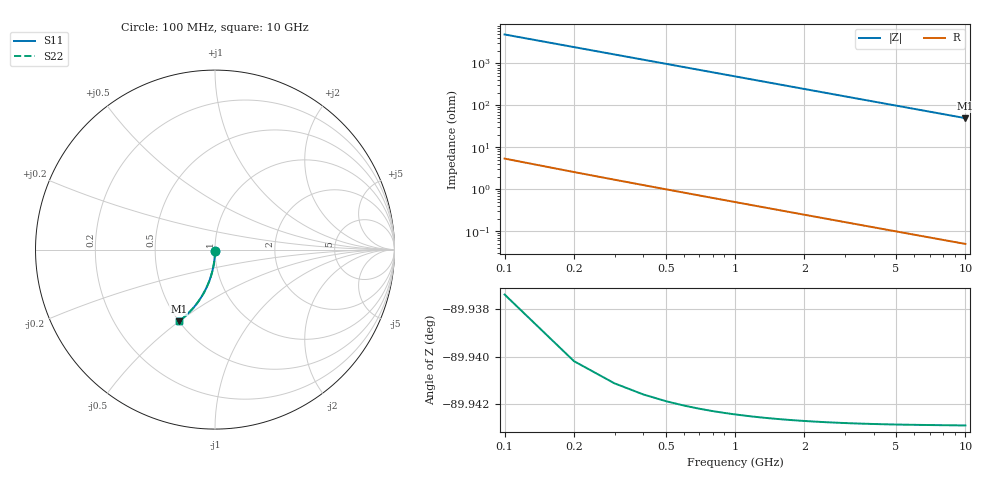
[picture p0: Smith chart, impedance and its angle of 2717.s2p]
# Hz S RI R 50.00
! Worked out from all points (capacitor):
!   100 points, 100 MHz to 10 GHz, reference 50 ohm
!   read as one part in shunt: C = 323 fF near 100 MHz
!   lowest |Z| = 49.7 ohm at 10 GHz (marker M1)
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1e8  -2.87e-05 -0.00507  1 -0.00509  1 -0.00509  -2.87e-05 -0.00507
2e8  -0.000111 -0.0101  0.9999 -0.0102  0.9999 -0.0102  -0.000111 -0.0101
3e8  -0.000245 -0.0152  0.9997 -0.0153  0.9997 -0.0153  -0.000245 -0.0152
4e8  -0.00043 -0.0203  0.9996 -0.0203  0.9996 -0.0203  -0.00043 -0.0203
5e8  -0.000667 -0.0253  0.9993 -0.0254  0.9993 -0.0254  -0.000667 -0.0253
6e8  -0.000955 -0.0304  0.999 -0.0305  0.999 -0.0305  -0.000955 -0.0304
7e8  -0.00129 -0.0354  0.9987 -0.0355  0.9987 -0.0355  -0.00129 -0.0354
8e8  -0.00168 -0.0405  0.9983 -0.0406  0.9983 -0.0406  -0.00168 -0.0405
9e8  -0.00213 -0.0455  0.9979 -0.0457  0.9979 -0.0457  -0.00213 -0.0455
1.1e9  -0.00316 -0.0556  0.9968 -0.0557  0.9968 -0.0557  -0.00316 -0.0556
1.4e9  -0.00509 -0.0706  0.9949 -0.0708  0.9949 -0.0708  -0.00509 -0.0706
1.8e9  -0.00835 -0.0904  0.9916 -0.0907  0.9916 -0.0907  -0.00835 -0.0904
2.1e9  -0.0113 -0.1051  0.9887 -0.1054  0.9887 -0.1054  -0.0113 -0.1051
2.5e9  -0.0159 -0.1245  0.9841 -0.1249  0.9841 -0.1249  -0.0159 -0.1245
2.9e9  -0.0213 -0.1436  0.9787 -0.144  0.9787 -0.144  -0.0213 -0.1436
3.4e9  -0.029 -0.1669  0.971 -0.1674  0.971 -0.1674  -0.029 -0.1669
4.2e9  -0.0434 -0.2029  0.9566 -0.2036  0.9566 -0.2036  -0.0434 -0.2029
5.1e9  -0.0625 -0.2413  0.9375 -0.242  0.9375 -0.242  -0.0625 -0.2413
5.9e9  -0.0818 -0.2731  0.9182 -0.274  0.9182 -0.274  -0.0818 -0.2731
6.7e9  -0.1028 -0.3028  0.8971 -0.3038  0.8971 -0.3038  -0.1028 -0.3028
8.4e9  -0.1522 -0.3581  0.8478 -0.3593  0.8478 -0.3593  -0.1522 -0.3581
1e10  -0.2023 -0.4004  0.7977 -0.402  0.7977 -0.402  -0.2023 -0.4004
